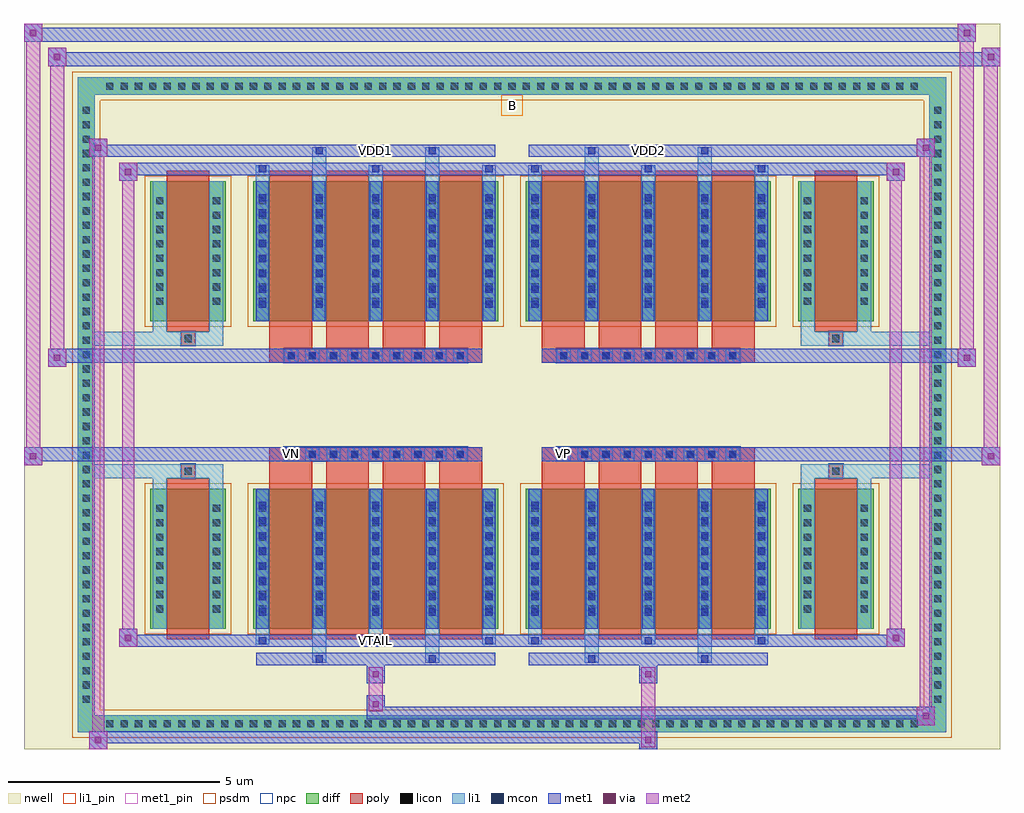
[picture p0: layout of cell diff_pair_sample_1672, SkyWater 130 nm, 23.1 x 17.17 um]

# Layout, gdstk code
import gdstk
lib = gdstk.Library(unit=1e-6, precision=5e-09)
def R(c, l, rs):  # rectangles x0, y0, x1, y1
    for r in rs: c.add(gdstk.rectangle(r[:2], r[2:], *l))
def A(c, l, x, y, w, h, nx, ny, dx, dy):  # array of equal rectangles
    R(c, l, [(x+i*dx, y+j*dy, x+i*dx+w, y+j*dy+h) for i in range(nx) for j in range(ny)])
def P(c, l, *ps):  # polygons
    for p in ps: c.add(gdstk.Polygon(p, *l))
nwell = (64, 20)
diff = (65, 20)
poly = (66, 20)
licon = (66, 44)
li1_pin = (67, 16)
li1 = (67, 20)
mcon = (67, 44)
met1_pin = (68, 16)
met1 = (68, 20)
via = (68, 44)
met2 = (69, 20)
psdm = (94, 20)
npc = (95, 20)

diff_pair_sample_1672 = lib.new_cell('diff_pair_sample_1672')
R(diff_pair_sample_1672, nwell, [(-11.55,-8.15,11.55,9.02), (-8.87,-6.34,-0.01,-0.8), (0.01,-6.34,8.87,-0.8), (-8.87,0.8,-0.01,6.34), (0.01,0.8,8.87,6.34)])
A(diff_pair_sample_1672, diff, -9.725, -7.75, 0.41, 0.41, 57, 2, 0.34, 15.09)
A(diff_pair_sample_1672, diff, -10.28, -7.175, 0.41, 0.41, 1, 42, 0, 0.34)
A(diff_pair_sample_1672, diff, 9.87, -7.175, 0.41, 0.41, 1, 42, 0, 0.34)
R(diff_pair_sample_1672, diff, [(-9.725,-7.75,9.725,-7.34), (-10.28,-7.175,-9.87,7.175), (9.87,-7.175,10.28,7.175), (-8.56,-5.295,-6.77,-1.985), (-6.13,-5.295,-0.32,-1.985), (0.32,-5.295,6.13,-1.985), (6.77,-5.295,8.56,-1.985), (-8.56,1.985,-6.77,5.295), (-6.13,1.985,-0.32,5.295), (0.32,1.985,6.13,5.295), (6.77,1.985,8.56,5.295), (-9.725,7.34,9.725,7.75)])
P(diff_pair_sample_1672, diff, [(10.28,7.75),(-10.28,7.75),(-10.28,-7.34),(-9.87,-7.34),(-9.87,7.34),(9.87,7.34),(9.87,-7.34),(-9.87,-7.34),(-10.28,-7.34),(-10.28,-7.75),(10.28,-7.75)])
A(diff_pair_sample_1672, poly, -5.74, -5.545, 1.01, 3.81, 4, 2, 1.34, 7.28)
A(diff_pair_sample_1672, poly, 0.71, -5.545, 1.01, 3.81, 4, 2, 1.34, 7.28)
A(diff_pair_sample_1672, poly, -5.74, -1.735, 1.01, 0.405, 4, 2, 1.34, 3.065)
A(diff_pair_sample_1672, poly, 0.71, -1.735, 1.01, 0.405, 4, 2, 1.34, 3.065)
A(diff_pair_sample_1672, poly, -5.39, -1.33, 0.33, 0.33, 9, 2, 0.5, 2.33)
A(diff_pair_sample_1672, poly, 1.06, -1.33, 0.33, 0.33, 9, 2, 0.5, 2.33)
R(diff_pair_sample_1672, poly, [(-8.17,-5.545,-7.16,-1.735), (7.16,-5.545,8.17,-1.735), (-7.83,-1.735,-7.5,-1.405), (-7.83,-1.735,-7.5,-1.405), (7.5,-1.735,7.83,-1.405), (7.5,-1.735,7.83,-1.405), (-5.74,-1.33,-0.71,-1), (0.71,-1.33,5.74,-1), (-5.74,1,-0.71,1.33), (0.71,1,5.74,1.33), (-7.83,1.405,-7.5,1.735), (-7.83,1.405,-7.5,1.735), (7.5,1.405,7.83,1.735), (7.5,1.405,7.83,1.735), (-8.17,1.735,-7.16,5.545), (7.16,1.735,8.17,5.545)])
A(diff_pair_sample_1672, licon, -9.605, -7.63, 0.17, 0.17, 57, 2, 0.34, 15.09)
A(diff_pair_sample_1672, licon, -10.16, -7.055, 0.17, 0.17, 1, 42, 0, 0.34)
A(diff_pair_sample_1672, licon, 9.99, -7.055, 0.17, 0.17, 1, 42, 0, 0.34)
A(diff_pair_sample_1672, licon, -8.42, -4.915, 0.17, 0.17, 1, 8, 0, 0.34)
A(diff_pair_sample_1672, licon, -7.08, -4.915, 0.17, 0.17, 1, 8, 0, 0.34)
A(diff_pair_sample_1672, licon, -5.99, -4.915, 0.17, 0.17, 5, 8, 1.34, 0.34)
A(diff_pair_sample_1672, licon, 0.46, -4.915, 0.17, 0.17, 5, 8, 1.34, 0.34)
A(diff_pair_sample_1672, licon, 6.91, -4.915, 0.17, 0.17, 1, 8, 0, 0.34)
A(diff_pair_sample_1672, licon, 8.25, -4.915, 0.17, 0.17, 1, 8, 0, 0.34)
A(diff_pair_sample_1672, licon, -5.31, -1.25, 0.17, 0.17, 9, 2, 0.5, 2.33)
A(diff_pair_sample_1672, licon, 1.14, -1.25, 0.17, 0.17, 9, 2, 0.5, 2.33)
A(diff_pair_sample_1672, licon, -8.42, 2.365, 0.17, 0.17, 1, 8, 0, 0.34)
A(diff_pair_sample_1672, licon, -7.08, 2.365, 0.17, 0.17, 1, 8, 0, 0.34)
A(diff_pair_sample_1672, licon, -5.99, 2.365, 0.17, 0.17, 5, 8, 1.34, 0.34)
A(diff_pair_sample_1672, licon, 0.46, 2.365, 0.17, 0.17, 5, 8, 1.34, 0.34)
A(diff_pair_sample_1672, licon, 6.91, 2.365, 0.17, 0.17, 1, 8, 0, 0.34)
A(diff_pair_sample_1672, licon, 8.25, 2.365, 0.17, 0.17, 1, 8, 0, 0.34)
R(diff_pair_sample_1672, licon, [(-7.75,-1.655,-7.58,-1.485), (7.58,-1.655,7.75,-1.485), (-7.75,1.485,-7.58,1.655), (7.58,1.485,7.75,1.655)])
R(diff_pair_sample_1672, li1_pin, [(-0.25,6.84,0.25,7.34)])
A(diff_pair_sample_1672, li1, -9.685, -7.71, 0.33, 0.33, 57, 2, 0.34, 15.09)
A(diff_pair_sample_1672, li1, -10.24, -7.135, 0.33, 0.33, 1, 42, 0, 0.34)
A(diff_pair_sample_1672, li1, 9.91, -7.135, 0.33, 0.33, 1, 42, 0, 0.34)
A(diff_pair_sample_1672, li1, -6.07, -5.67, 0.33, 0.375, 3, 2, 2.68, 10.965)
A(diff_pair_sample_1672, li1, -5.99, -5.67, 0.17, 0.17, 3, 2, 2.68, 11.17)
A(diff_pair_sample_1672, li1, 0.38, -5.67, 0.33, 0.375, 3, 2, 2.68, 10.965)
A(diff_pair_sample_1672, li1, 0.46, -5.67, 0.17, 0.17, 3, 2, 2.68, 11.17)
A(diff_pair_sample_1672, li1, -6.07, -5.295, 0.33, 3.31, 5, 2, 1.34, 7.28)
A(diff_pair_sample_1672, li1, 0.38, -5.295, 0.33, 3.31, 5, 2, 1.34, 7.28)
A(diff_pair_sample_1672, li1, -8.5, -4.995, 0.33, 0.33, 1, 8, 0, 0.34)
A(diff_pair_sample_1672, li1, -7.16, -4.995, 0.33, 0.33, 1, 8, 0, 0.34)
A(diff_pair_sample_1672, li1, -6.07, -4.995, 0.33, 0.33, 5, 8, 1.34, 0.34)
A(diff_pair_sample_1672, li1, 0.38, -4.995, 0.33, 0.33, 5, 8, 1.34, 0.34)
A(diff_pair_sample_1672, li1, 6.83, -4.995, 0.33, 0.33, 1, 8, 0, 0.34)
A(diff_pair_sample_1672, li1, 8.17, -4.995, 0.33, 0.33, 1, 8, 0, 0.34)
A(diff_pair_sample_1672, li1, -5.99, -4.985, 0.17, 0.17, 5, 8, 1.34, 0.36)
A(diff_pair_sample_1672, li1, -5.99, -4.985, 0.17, 2.69, 5, 2, 1.34, 7.28)
A(diff_pair_sample_1672, li1, 0.46, -4.985, 0.17, 0.17, 5, 8, 1.34, 0.36)
A(diff_pair_sample_1672, li1, 0.46, -4.985, 0.17, 2.69, 5, 2, 1.34, 7.28)
A(diff_pair_sample_1672, li1, -5.39, -1.33, 0.33, 0.33, 9, 2, 0.5, 2.33)
A(diff_pair_sample_1672, li1, 1.06, -1.33, 0.33, 0.33, 9, 2, 0.5, 2.33)
A(diff_pair_sample_1672, li1, -8.5, 2.285, 0.33, 0.33, 1, 8, 0, 0.34)
A(diff_pair_sample_1672, li1, -7.16, 2.285, 0.33, 0.33, 1, 8, 0, 0.34)
A(diff_pair_sample_1672, li1, -6.07, 2.285, 0.33, 0.33, 5, 8, 1.34, 0.34)
A(diff_pair_sample_1672, li1, 0.38, 2.285, 0.33, 0.33, 5, 8, 1.34, 0.34)
A(diff_pair_sample_1672, li1, 6.83, 2.285, 0.33, 0.33, 1, 8, 0, 0.34)
A(diff_pair_sample_1672, li1, 8.17, 2.285, 0.33, 0.33, 1, 8, 0, 0.34)
A(diff_pair_sample_1672, li1, -5.99, 2.295, 0.17, 0.17, 5, 8, 1.34, 0.36)
A(diff_pair_sample_1672, li1, 0.46, 2.295, 0.17, 0.17, 5, 8, 1.34, 0.36)
R(diff_pair_sample_1672, li1, [(-10.28,-7.75,-9.87,-7.34), (-10.28,-7.75,-9.87,-7.34), (-9.87,-7.75,9.87,-7.34), (9.87,-7.75,10.28,-7.34), (9.87,-7.75,10.28,-7.34), (-10.28,-7.34,-9.87,7.34), (9.87,-7.34,10.28,7.34), (-4.73,-6.1,-4.4,-5.295), (-4.65,-6.1,-4.48,-5.93), (-2.05,-6.1,-1.72,-5.295), (-1.97,-6.1,-1.8,-5.93), (1.72,-6.1,2.05,-5.295), (1.8,-6.1,1.97,-5.93), (4.4,-6.1,4.73,-5.295), (4.48,-6.1,4.65,-5.93), (-8.5,-5.295,-8.17,-1.985), (-7.16,-5.295,-6.83,-1.985), (6.83,-5.295,7.16,-1.985), (8.17,-5.295,8.5,-1.985), (-8.5,-1.985,-8.17,-1.405), (-7.16,-1.985,-6.83,-1.405), (6.83,-1.985,7.16,-1.405), (8.17,-1.985,8.5,-1.405), (-10.28,-1.735,-7.83,-1.405), (-8.5,-1.735,-7.83,-1.405), (-7.83,-1.735,-7.5,-1.405), (-7.5,-1.735,-6.83,-1.405), (6.83,-1.735,7.5,-1.405), (7.5,-1.735,7.83,-1.405), (7.5,-1.735,10.28,-1.405), (7.83,-1.735,8.5,-1.405), (-10.28,1.405,-7.83,1.735), (-8.5,1.405,-7.83,1.735), (-8.5,1.405,-8.17,1.985), (-7.83,1.405,-7.5,1.735), (-7.5,1.405,-6.83,1.735), (-7.16,1.405,-6.83,1.985), (6.83,1.405,7.5,1.735), (6.83,1.405,7.16,1.985), (7.5,1.405,7.83,1.735), (7.5,1.405,10.28,1.735), (7.83,1.405,8.5,1.735), (8.17,1.405,8.5,1.985), (-8.5,1.985,-8.17,5.295), (-7.16,1.985,-6.83,5.295), (6.83,1.985,7.16,5.295), (8.17,1.985,8.5,5.295), (-4.73,5.295,-4.4,6.1), (-2.05,5.295,-1.72,6.1), (1.72,5.295,2.05,6.1), (4.4,5.295,4.73,6.1), (-4.65,5.93,-4.48,6.1), (-1.97,5.93,-1.8,6.1), (1.8,5.93,1.97,6.1), (4.48,5.93,4.65,6.1), (-10.28,7.34,-9.87,7.75), (-10.28,7.34,-9.87,7.75), (-9.87,7.34,9.87,7.75), (9.87,7.34,10.28,7.75), (9.87,7.34,10.28,7.75)])
A(diff_pair_sample_1672, mcon, -5.99, -5.67, 0.17, 0.17, 3, 2, 2.68, 11.17)
A(diff_pair_sample_1672, mcon, 0.46, -5.67, 0.17, 0.17, 3, 2, 2.68, 11.17)
A(diff_pair_sample_1672, mcon, -5.99, -4.985, 0.17, 0.17, 5, 8, 1.34, 0.36)
A(diff_pair_sample_1672, mcon, 0.46, -4.985, 0.17, 0.17, 5, 8, 1.34, 0.36)
A(diff_pair_sample_1672, mcon, -5.31, -1.25, 0.17, 0.17, 9, 2, 0.5, 2.33)
A(diff_pair_sample_1672, mcon, 1.14, -1.25, 0.17, 0.17, 9, 2, 0.5, 2.33)
A(diff_pair_sample_1672, mcon, -5.99, 2.295, 0.17, 0.17, 5, 8, 1.34, 0.36)
A(diff_pair_sample_1672, mcon, 0.46, 2.295, 0.17, 0.17, 5, 8, 1.34, 0.36)
R(diff_pair_sample_1672, mcon, [(-4.65,-6.1,-4.48,-5.93), (-1.97,-6.1,-1.8,-5.93), (1.8,-6.1,1.97,-5.93), (4.48,-6.1,4.65,-5.93), (-4.65,5.93,-4.48,6.1), (-1.97,5.93,-1.8,6.1), (1.8,5.93,1.97,6.1), (4.48,5.93,4.65,6.1)])
R(diff_pair_sample_1672, met1_pin, [(-3.36,-5.71,-3.09,-5.44), (-5.36,-1.29,-5.09,-1.02), (1.09,-1.29,1.36,-1.02), (-3.36,5.89,-3.09,6.16), (3.09,5.89,3.36,6.16)])
A(diff_pair_sample_1672, met1, -6.05, -5.73, 0.29, 0.29, 3, 2, 2.68, 11.17)
A(diff_pair_sample_1672, met1, 0.4, -5.73, 0.29, 0.29, 3, 2, 2.68, 11.17)
A(diff_pair_sample_1672, met1, -6.05, -5.295, 0.29, 3.31, 5, 2, 1.34, 7.28)
A(diff_pair_sample_1672, met1, 0.4, -5.295, 0.29, 3.31, 5, 2, 1.34, 7.28)
A(diff_pair_sample_1672, met1, -6.05, -5.045, 0.29, 0.29, 5, 8, 1.34, 0.36)
A(diff_pair_sample_1672, met1, 0.4, -5.045, 0.29, 0.29, 5, 8, 1.34, 0.36)
A(diff_pair_sample_1672, met1, -5.37, -1.31, 0.29, 0.29, 9, 2, 0.5, 2.33)
A(diff_pair_sample_1672, met1, 1.08, -1.31, 0.29, 0.29, 9, 2, 0.5, 2.33)
A(diff_pair_sample_1672, met1, -6.05, 2.235, 0.29, 0.29, 5, 8, 1.34, 0.36)
A(diff_pair_sample_1672, met1, 0.4, 2.235, 0.29, 0.29, 5, 8, 1.34, 0.36)
R(diff_pair_sample_1672, met1, [(-10.01,-8.15,-9.58,-7.72), (3.01,-8.15,3.44,-7.72), (-10.01,-8.01,3.44,-7.72), (9.58,-7.58,10.01,-7.15), (-3.44,-7.44,10.01,-7.15), (-3.44,-7.3,-3.01,-6.87), (-3.44,-6.59,-3.01,-6.16), (3.01,-6.59,3.44,-6.16), (-6.05,-6.16,-0.4,-5.87), (-4.71,-6.16,-4.42,-5.87), (-2.03,-6.16,-1.74,-5.87), (0.4,-6.16,6.05,-5.87), (1.74,-6.16,2.03,-5.87), (4.42,-6.16,4.71,-5.87), (-9.3,-5.73,-8.87,-5.3), (-9.3,-5.73,-6.05,-5.44), (-6.05,-5.73,-0.4,-5.44), (-0.4,-5.73,0.4,-5.44), (0.4,-5.73,6.05,-5.44), (6.05,-5.73,9.3,-5.44), (8.87,-5.73,9.3,-5.3), (-11.55,-1.43,-11.12,-1), (11.12,-1.43,11.55,-1), (-11.55,-1.33,-0.71,-1), (-5.74,-1.33,-0.71,-1), (0.71,-1.33,5.74,-1), (0.71,-1.33,11.55,-1), (-10.98,0.9,-10.55,1.33), (10.55,0.9,10.98,1.33), (-10.98,1,-5.74,1.33), (-5.74,1,-0.71,1.33), (0.71,1,5.74,1.33), (5.74,1,10.98,1.33), (-9.3,5.3,-8.87,5.73), (8.87,5.3,9.3,5.73), (-9.3,5.44,-6.05,5.73), (-6.05,5.44,-0.4,5.73), (-0.4,5.44,0.4,5.73), (0.4,5.44,6.05,5.73), (6.05,5.44,9.3,5.73), (-10.01,5.87,-9.58,6.3), (-10.01,5.87,-6.05,6.16), (-6.05,5.87,-0.4,6.16), (-4.71,5.87,-4.42,6.16), (-2.03,5.87,-1.74,6.16), (0.4,5.87,6.05,6.16), (1.74,5.87,2.03,6.16), (4.42,5.87,4.71,6.16), (6.05,5.87,10.01,6.16), (9.58,5.87,10.01,6.3), (-10.98,8.02,-10.55,8.45), (-10.98,8.02,-8.87,8.35), (-8.87,8.02,8.87,8.35), (8.87,8.02,11.55,8.35), (11.12,8.02,11.55,8.45), (-11.55,8.59,-11.12,9.02), (-11.55,8.59,-8.87,8.92), (-8.87,8.59,8.87,8.92), (8.87,8.59,10.98,8.92), (10.55,8.59,10.98,9.02)])
R(diff_pair_sample_1672, via, [(-9.87,-8.01,-9.72,-7.86), (3.15,-8.01,3.3,-7.86), (9.72,-7.44,9.87,-7.29), (-3.3,-7.16,-3.15,-7.01), (-3.3,-6.45,-3.15,-6.3), (3.15,-6.45,3.3,-6.3), (-9.16,-5.59,-9.01,-5.44), (9.01,-5.59,9.16,-5.44), (-11.41,-1.29,-11.26,-1.14), (11.26,-1.29,11.41,-1.14), (-10.84,1.04,-10.69,1.19), (10.69,1.04,10.84,1.19), (-9.16,5.44,-9.01,5.59), (9.01,5.44,9.16,5.59), (-9.87,6.01,-9.72,6.16), (9.72,6.01,9.87,6.16), (-10.84,8.16,-10.69,8.31), (11.26,8.16,11.41,8.31), (-11.41,8.73,-11.26,8.88), (10.69,8.73,10.84,8.88)])
R(diff_pair_sample_1672, met2, [(-10.01,-8.15,-9.58,-7.72), (-9.94,-8.15,-9.65,6.3), (-9.65,-8.15,-9.58,-7.72), (-9.96,-8.1,-9.63,-7.77), (3.06,-8.1,3.39,-7.77), (3.06,-7.77,3.39,-6.54), (9.58,-7.58,10.01,-7.15), (9.65,-7.58,9.94,6.3), (9.94,-7.58,10.01,-7.15), (9.63,-7.53,9.96,-7.2), (-3.39,-7.25,-3.06,-6.92), (-3.39,-6.92,-3.06,-6.54), (-3.39,-6.54,-3.06,-6.21), (3.06,-6.54,3.39,-6.21), (-9.3,-5.73,-8.87,-5.3), (-9.23,-5.73,-8.94,5.73), (-8.94,-5.73,-8.87,-5.3), (8.87,-5.73,9.3,-5.3), (8.94,-5.73,9.23,5.73), (9.23,-5.73,9.3,-5.3), (-9.25,-5.68,-8.92,-5.35), (8.92,-5.68,9.25,-5.35), (-11.55,-1.43,-11.12,-1), (-11.5,-1.43,-11.17,9.02), (-11.17,-1.43,-11.12,-1), (11.12,-1.43,11.55,-1), (11.17,-1.43,11.5,8.45), (11.5,-1.43,11.55,-1), (-11.5,-1.38,-11.17,-1.05), (11.17,-1.38,11.5,-1.05), (-10.98,0.9,-10.55,1.33), (-10.93,0.9,-10.6,8.45), (-10.6,0.9,-10.55,1.33), (10.55,0.9,10.98,1.33), (10.6,0.9,10.93,9.02), (10.93,0.9,10.98,1.33), (-10.93,0.95,-10.6,1.28), (10.6,0.95,10.93,1.28), (-9.3,5.3,-8.87,5.73), (-8.94,5.3,-8.87,5.73), (8.87,5.3,9.3,5.73), (9.23,5.3,9.3,5.73), (-9.25,5.35,-8.92,5.68), (8.92,5.35,9.25,5.68), (-10.01,5.87,-9.58,6.3), (-9.65,5.87,-9.58,6.3), (9.58,5.87,10.01,6.3), (9.94,5.87,10.01,6.3), (-9.96,5.92,-9.63,6.25), (9.63,5.92,9.96,6.25), (-10.98,8.02,-10.55,8.45), (-10.6,8.02,-10.55,8.45), (11.12,8.02,11.55,8.45), (11.5,8.02,11.55,8.45), (-10.93,8.07,-10.6,8.4), (11.17,8.07,11.5,8.4), (-11.55,8.59,-11.12,9.02), (-11.17,8.59,-11.12,9.02), (10.55,8.59,10.98,9.02), (10.93,8.59,10.98,9.02), (-11.5,8.64,-11.17,8.97), (10.6,8.64,10.93,8.97)])
R(diff_pair_sample_1672, psdm, [(-8.69,-5.425,-6.64,-1.855), (-6.26,-5.425,-0.19,-1.855), (0.19,-5.425,6.26,-1.855), (6.64,-5.425,8.69,-1.855), (-8.69,1.855,-6.64,5.425), (-6.26,1.855,-0.19,5.425), (0.19,1.855,6.26,5.425), (6.64,1.855,8.69,5.425)])
P(diff_pair_sample_1672, psdm, [(10.41,7.88),(-10.41,7.88),(-10.41,-7.21),(-9.74,-7.21),(-9.74,7.21),(9.74,7.21),(9.74,-7.21),(-9.74,-7.21),(-10.41,-7.21),(-10.41,-7.88),(10.41,-7.88)])
A(diff_pair_sample_1672, npc, -5.41, -1.35, 0.37, 0.37, 9, 2, 0.5, 2.33)
A(diff_pair_sample_1672, npc, 1.04, -1.35, 0.37, 0.37, 9, 2, 0.5, 2.33)
R(diff_pair_sample_1672, npc, [(-7.85,-1.755,-7.48,-1.385), (7.48,-1.755,7.85,-1.385), (-5.41,-1.35,-4.54,-0.98), (-5.41,-1.35,-4.54,-0.98), (-4.91,-1.35,-4.04,-0.98), (-4.91,-1.35,-4.04,-0.98), (-4.41,-1.35,-3.54,-0.98), (-4.41,-1.35,-3.54,-0.98), (-3.91,-1.35,-3.04,-0.98), (-3.91,-1.35,-3.04,-0.98), (-3.41,-1.35,-2.54,-0.98), (-3.41,-1.35,-2.54,-0.98), (-2.91,-1.35,-2.04,-0.98), (-2.91,-1.35,-2.04,-0.98), (-2.41,-1.35,-1.54,-0.98), (-2.41,-1.35,-1.54,-0.98), (-1.91,-1.35,-1.04,-0.98), (-1.91,-1.35,-1.04,-0.98), (1.04,-1.35,1.91,-0.98), (1.04,-1.35,1.91,-0.98), (1.54,-1.35,2.41,-0.98), (1.54,-1.35,2.41,-0.98), (2.04,-1.35,2.91,-0.98), (2.04,-1.35,2.91,-0.98), (2.54,-1.35,3.41,-0.98), (2.54,-1.35,3.41,-0.98), (3.04,-1.35,3.91,-0.98), (3.04,-1.35,3.91,-0.98), (3.54,-1.35,4.41,-0.98), (3.54,-1.35,4.41,-0.98), (4.04,-1.35,4.91,-0.98), (4.04,-1.35,4.91,-0.98), (4.54,-1.35,5.41,-0.98), (4.54,-1.35,5.41,-0.98), (-5.41,0.98,-4.54,1.35), (-5.41,0.98,-4.54,1.35), (-4.91,0.98,-4.04,1.35), (-4.91,0.98,-4.04,1.35), (-4.41,0.98,-3.54,1.35), (-4.41,0.98,-3.54,1.35), (-3.91,0.98,-3.04,1.35), (-3.91,0.98,-3.04,1.35), (-3.41,0.98,-2.54,1.35), (-3.41,0.98,-2.54,1.35), (-2.91,0.98,-2.04,1.35), (-2.91,0.98,-2.04,1.35), (-2.41,0.98,-1.54,1.35), (-2.41,0.98,-1.54,1.35), (-1.91,0.98,-1.04,1.35), (-1.91,0.98,-1.04,1.35), (1.04,0.98,1.91,1.35), (1.04,0.98,1.91,1.35), (1.54,0.98,2.41,1.35), (1.54,0.98,2.41,1.35), (2.04,0.98,2.91,1.35), (2.04,0.98,2.91,1.35), (2.54,0.98,3.41,1.35), (2.54,0.98,3.41,1.35), (3.04,0.98,3.91,1.35), (3.04,0.98,3.91,1.35), (3.54,0.98,4.41,1.35), (3.54,0.98,4.41,1.35), (4.04,0.98,4.91,1.35), (4.04,0.98,4.91,1.35), (4.54,0.98,5.41,1.35), (4.54,0.98,5.41,1.35), (-7.85,1.385,-7.48,1.755), (7.48,1.385,7.85,1.755)])
diff_pair_sample_1672.add(gdstk.Label('VTAIL', (-3.225,-5.575), layer=68, texttype=5))
diff_pair_sample_1672.add(gdstk.Label('VN', (-5.225,-1.155), layer=68, texttype=5))
diff_pair_sample_1672.add(gdstk.Label('VP', (1.225,-1.155), layer=68, texttype=5))
diff_pair_sample_1672.add(gdstk.Label('B', (0,7.09), layer=67, texttype=5))
diff_pair_sample_1672.add(gdstk.Label('VDD2', (3.225,6.025), layer=68, texttype=5))
diff_pair_sample_1672.add(gdstk.Label('VDD1', (-3.225,6.025), layer=68, texttype=5))

lib.write_gds('diff_pair_sample_1672.gds')
